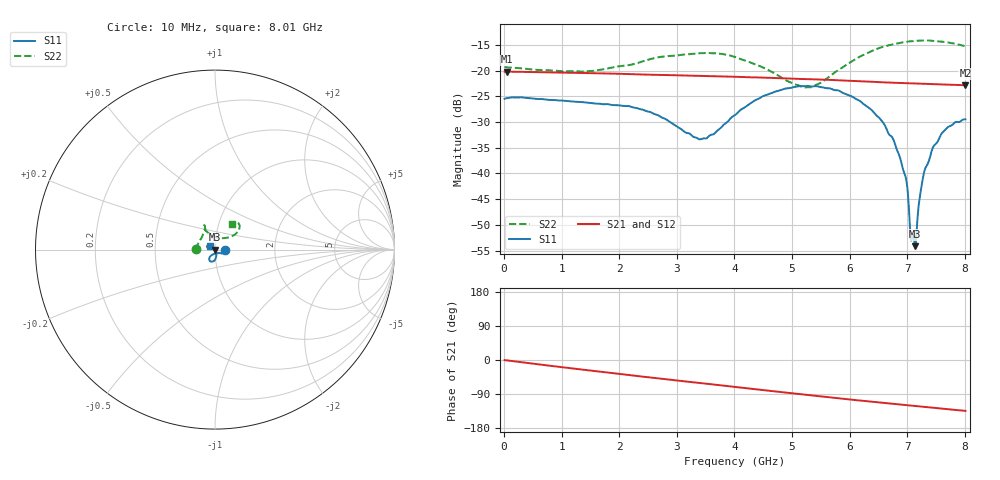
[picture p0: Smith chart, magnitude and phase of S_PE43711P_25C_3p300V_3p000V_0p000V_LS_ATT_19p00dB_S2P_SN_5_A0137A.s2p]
! Device ID: PE43711P
! File Path: z:\PE43711P\CHAR_NOM_04282014\AMB\3p300\LS_ATT_19p00dB\PE43711P_AMB_3p300V_3p000V_0p000V_LS_ATT_19p00dB_S2P_SN_5_A0137A.s2p
! Serial: 5
! Lot: A0137A
! Temp: 25C
! VDD: 3.300
! VSS: 0.000
! Control_Hi: 3.000
! Control_Lo: 0.000
! Attenuation Step: 19.00dB
! Port 1: RF1
! Port 2: RF2
! ThroughPath:1-2
! IDD: 0.0001275888
! ISS: -1.594e-007
#  Hz  S  RI  R  50
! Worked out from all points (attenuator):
!   801 points, 10 MHz to 8.01 GHz, reference 50 ohm
!   highest |S21| = -20.20 dB at 50 MHz (marker M1); lowest = -22.8 dB at 8.01 GHz (marker M2)
!   lowest |S11| = -54.1 dB at 7.14 GHz (marker M3), VSWR 1.00, Z = 49.8 - j0.0268 ohm
!   |S11| at or under -10 dB: start of sweep to end of sweep
!   |S22| runs from -23.3 to -14.1 dB; largest |S21 - S12| = 0.00018
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1e7  0.0532 0.000188  0.0977 -0.000458  0.0978 -0.000442  -0.1084 0.000903
5e7  0.0539 -0.00017  0.0977 -0.00176  0.0978 -0.00175  -0.1076 0.00301
1.35e9  0.0458 -0.0187  0.0859 -0.0403  0.086 -0.0403  -0.0821 0.0533
2.68e9  0.0309 -0.0197  0.0603 -0.068  0.0603 -0.0681  -0.0554 0.1232
3.41e9  0.00556 -0.0208  0.043 -0.0774  0.0431 -0.0774  -0.0585 0.1357
4.01e9  -0.0197 -0.0313  0.0282 -0.0824  0.0282 -0.0824  -0.063 0.1203
4.53e9  -0.0315 -0.0479  0.0149 -0.0841  0.0149 -0.0841  -0.0413 0.0968
5.35e9  -0.022 -0.0666  -0.00498 -0.0822  -0.00499 -0.0823  0.0255 0.0645
6.17e9  0.00304 -0.051  -0.023 -0.0755  -0.0231 -0.0755  0.1084 0.0823
6.53e9  0.0077 -0.0331  -0.0296 -0.0713  -0.0296 -0.0714  0.1304 0.1046
6.68e9  0.00665 -0.0232  -0.032 -0.0696  -0.0319 -0.0696  0.1343 0.1144
6.78e9  0.00649 -0.0188  -0.0336 -0.0683  -0.0336 -0.0684  0.1366 0.1205
6.95e9  0.00263 -0.00972  -0.0362 -0.0663  -0.0362 -0.0664  0.1366 0.1301
6.99e9  0.0029 -0.0077  -0.0368 -0.0658  -0.0368 -0.0659  0.137 0.132
7.04e9  0.00121 -0.00337  -0.0377 -0.0653  -0.0376 -0.0653  0.1366 0.1357
7.08e9  -0.00123 -0.00195  -0.0382 -0.0647  -0.0383 -0.0648  0.1354 0.1376
7.11e9  -0.00191 -0.00163  -0.0387 -0.0644  -0.0387 -0.0644  0.1349 0.1387
7.14e9  -0.00194 -0.000269  -0.0392 -0.064  -0.0391 -0.064  0.1347 0.1402
7.27e9  -0.00596 0.00655  -0.0411 -0.0622  -0.041 -0.0623  0.1309 0.1465
7.45e9  -0.0121 0.0134  -0.0436 -0.0597  -0.0436 -0.0598  0.1219 0.152
7.68e9  -0.0195 0.0191  -0.0465 -0.0564  -0.0465 -0.0564  0.1093 0.1545
8.01e9  -0.0259 0.0214  -0.0502 -0.0516  -0.0504 -0.0516  0.0925 0.1453
